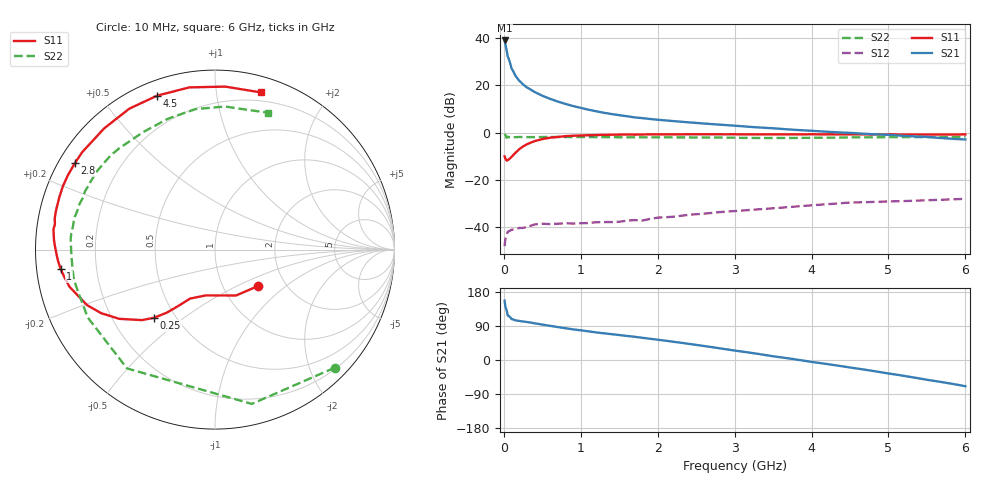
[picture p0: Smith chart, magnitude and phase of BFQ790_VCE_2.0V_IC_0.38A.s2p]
! Infineon Technologies  Discrete & RF Semiconductors
! BFQ790
! VCE =  2.0 V,  IC = 0.38 A
! Common Emitter S-Parameters:  May 2015
# GHz  S  MA  R  50
!  f  S11  S21  S12  S22
! GHz  MAG  ANG  MAG  ANG  MAG  ANG  MAG  ANG
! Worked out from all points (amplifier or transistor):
!   77 points, 10 MHz to 6 GHz, reference 50 ohm
!   highest |S21| = 38.9 dB at 10 MHz (marker M1)
!   |S21| within 3 dB of that: start of sweep to 28.84 MHz
!   unconditionally stable (mu >= 1): 169.3 MHz to end of sweep
!   at 130 MHz: K = 0.85, MSG = 33.1 dB, |S12| = -40.9 dB
!   at 2.2 GHz: K = 1.39, MAG = 16.5 dB, |S12| = -35.5 dB
!   at 6 GHz: K = 1.11, MAG = 10.5 dB, |S12| = -28.0 dB
!   S11 on the Smith chart (normalised r, x): 10 MHz: 1.45, -0.66; 250 MHz: 0.38, -0.39; 1 GHz: 0.07, -0.06; 2.8 GHz: 0.05, +0.28; 4.5 GHz: 0.06, +0.69; 6 GHz: 0.13, +1.33
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0.01  0.3141 -40.3  87.6 156.6  0.004 67.4  0.9369 -44.6
0.02  0.2815 -65.2  72.05 140.2  0.0057 52.0  0.8838 -76.6
0.05  0.2608 -101.6  40.76 117.7  0.008 29.4  0.8237 -126.5
0.1  0.3058 -116.9  22.6 108.0  0.0089 19.3  0.8036 -151.9
0.15  0.3725 -122.9  15.81 104.7  0.0091 19.9  0.798 -162.6
0.2  0.4434 -127.5  12.41 103.1  0.0097 20.2  0.8037 -167.9
0.25  0.5093 -131.8  10.37 101.6  0.0097 18.7  0.8012 -171.6
0.3  0.5657 -136.0  8.929 100.3  0.0102 15.6  0.7999 -174.5
0.4  0.6591 -144.2  7.146 96.8  0.0115 15.4  0.801 -178.6
0.5  0.7264 -150.8  5.972 93.4  0.0119 13.6  0.803 178.4
0.7  0.8068 -161.6  4.501 86.9  0.0119 14.6  0.8056 173.6
0.9  0.8539 -169.8  3.616 80.8  0.012 12.1  0.8018 170.2
1  0.867 -172.9  3.311 78.4  0.0122 13.4  0.803 168.4
1.1  0.8779 -176.2  3.032 75.6  0.0123 15.0  0.8019 166.7
1.5  0.9023 174.7  2.318 65.9  0.0131 18.3  0.7959 161.1
2.1  0.9132 163.4  1.8 51.0  0.0163 19.3  0.7895 152.1
2.8  0.9174 148.4  1.469 31.0  0.0209 11.9  0.783 137.8
3.1  0.9144 141.5  1.355 22.2  0.0226 9.9  0.7723 131.1
4.1  0.9158 119.2  1.062 -7.8  0.0299 -6.0  0.7753 107.3
4.5  0.9163 110.6  0.983 -19.8  0.0333 -13.9  0.7903 97.9
5.1  0.9105 96.5  0.871 -38.6  0.0354 -26.9  0.7975 84.0
6  0.9125 73.6  0.713 -69.3  0.04 -48.8  0.8186 68.7
